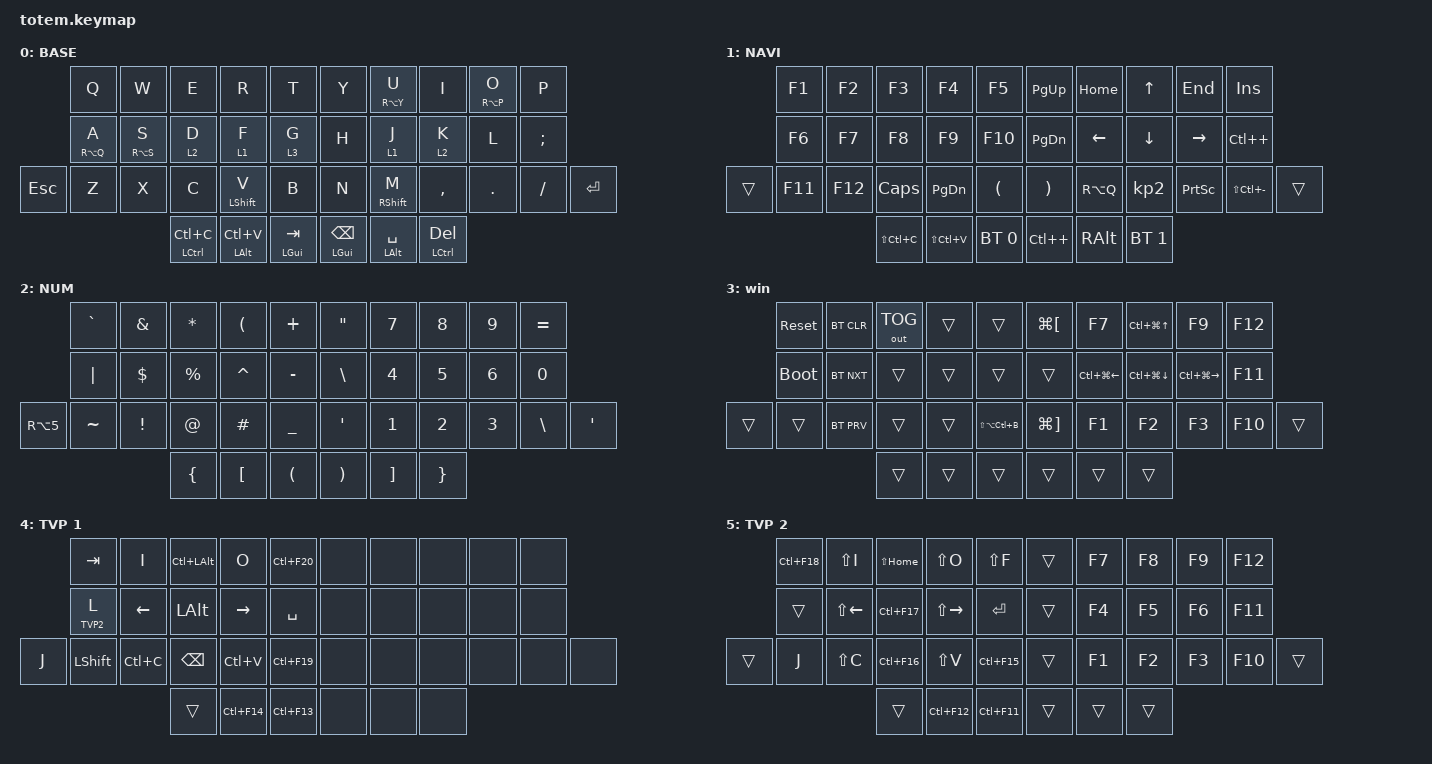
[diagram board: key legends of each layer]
//
//                                                        ▀▀▀▀▀     ▀▀▀▀▀          ▀▀█▀▀
//                                                        ▄▀▀▀▄  ▄  ▄▀▀▀▄  ▄  ▄▀▀▀▄  █  ▄▀▀▀▄
//                                                        █   █  █  █   █  █  █   █  █  █   █
//                                                         ▀▀▀   █   ▀▀▀   █   ▀▀▀   ▀   ▀▀▀
//                                                               █      ▄▄▄█▄▄▄    █   █  
//                                                               ▀      █  █  █     █▄█
//                                                             ▀▀▀▀▀    █  █  █      ▀
//                                                                      ▀  ▀  ▀
//
// ▄▄▄▄▄▄▄▄▄▄▄▄▄▄▄▄▄▄▄▄▄▄▄▄▄▄▄▄▄▄▄▄▄▄▄▄▄▄▄▄▄▄▄▄▄▄▄▄▄▄▄▄▄▄▄▄▄▄▄▄▄▄▄▄▄▄▄▄▄▄▄▄▄▄▄▄▄▄▄▄▄▄▄▄▄▄▄▄▄▄▄▄▄▄▄▄▄▄▄▄▄▄▄▄▄▄▄▄▄▄▄▄▄▄▄▄▄▄▄▄▄▄▄▄▄▄▄▄▄▄▄▄▄▄▄▄▄▄▄▄▄▄▄▄▄▄▄▄▄

#include <behaviors.dtsi>
#include <dt-bindings/zmk/bt.h>
#include <dt-bindings/zmk/keys.h>
#include <dt-bindings/zmk/outputs.h>

#define BASE 0
#define NAV  1
#define SYM  2
#define ADJ  3
#define TVP1 4
#define TVP2 5

&mt {
    quick-tap-ms = <200>;
    global-quick-tap;
    flavor = "tap-preferred";
    tapping-term-ms = <250>;
};

/ {
    combos {
        compatible = "zmk,combos";

        combo_esc {
            timeout-ms = <70>;
            key-positions = <12 13>;
            bindings = <&kp ESC>;
        };

        combo_enter {
            bindings = <&kp ENTER>;
            key-positions = <16 17>;
        };
    };

    macros {
        gif: gif {
            label = "giphy";
            compatible = "zmk,behavior-macro";
            #binding-cells = <0>;
            bindings =
                <&macro_press>,
                <&kp LSHFT>,
                <&macro_tap>,
                <&kp N2>,
                <&macro_release>,
                <&kp LSHFT>,
                <&macro_tap>,
                <&kp G &kp I &kp F>;
        };
    };

    keymap {
        compatible = "zmk,keymap";

        // ▄▄▄▄▄▄▄▄▄▄▄▄▄▄▄▄▄▄▄▄▄▄▄▄▄▄▄▄▄▄▄▄▄▄▄▄▄▄▄▄▄▄▄▄▄▄▄▄▄▄▄▄▄▄▄▄▄▄▄▄▄▄▄▄▄▄▄▄▄▄▄▄▄▄▄▄▄▄▄▄▄▄▄▄▄▄▄▄▄▄▄▄▄▄▄▄▄▄▄▄▄▄▄▄▄▄▄▄▄▄▄▄▄▄▄▄▄▄▄▄▄▄▄▄▄▄▄▄▄▄▄▄▄▄▄▄▄▄▄▄▄▄▄▄▄▄▄▄▄

        base_layer {
            // ┏━━━━━━━━━━━━━━━━━━━━━━━━━━━━━━━━━━━━━━━┓

            label = "BASE";

            // ┗━━━━━━━━━━━━━━━━━━━━━━━━━━━━━━━━━━━━━━━┛
            //             ┏━━━━━━━━━━━┳━━━━━━━━━━━┳━━━━━━━━━━━┳━━━━━━━━━━━┳━━━━━━━━━━━┓   ┏━━━━━━━━━━━┳━━━━━━━━━━━┳━━━━━━━━━━━┳━━━━━━━━━━━┳━━━━━━━━━━━┓
            //             ┃     Q     ┃     W     ┃     F     ┃     P     ┃     G     ┃   ┃     J     ┃     L     ┃     U     ┃     Y     ┃     ;     ┃
            //             ┣━━━━━━━━━━━╋━━━━━━━━━━━╋━━━━━━━━━━━╋━━━━━━━━━━━╋━━━━━━━━━━━┫   ┣━━━━━━━━━━━╋━━━━━━━━━━━╋━━━━━━━━━━━╋━━━━━━━━━━━╋━━━━━━━━━━━┫
            //             ┃     A     ┃     R     ┃     S     ┃     T     ┃     D     ┃   ┃     H     ┃     N     ┃     E     ┃     I     ┃     O     ┃
            // ┏━━━━━━━━━━━╋━━━━━━━━━━━╋━━━━━━━━━━━╋━━━━━━━━━━━╋━━━━━━━━━━━╋━━━━━━━━━━━┫   ┣━━━━━━━━━━━╋━━━━━━━━━━━╋━━━━━━━━━━━╋━━━━━━━━━━━╋━━━━━━━━━━━╋━━━━━━━━━━━┓
            // ┃     Q     ┃     Z     ┃     X     ┃     C     ┃     V     ┃     B     ┃   ┃     K     ┃     M     ┃     ,     ┃     .     ┃     /     ┃     \     ┃
            // ┗━━━━━━━━━━━┻━━━━━━━━━━━┻━━━━━━━━━━━╋━━━━━━━━━━━╋━━━━━━━━━━━╋━━━━━━━━━━━┫   ┣━━━━━━━━━━━╋━━━━━━━━━━━╋━━━━━━━━━━━╋━━━━━━━━━━━┻━━━━━━━━━━━┻━━━━━━━━━━━┛
            //                                     ┃    DEL    ┃    TAB    ┃    SPC    ┃   ┃   ENTER   ┃           ┃   BSPC    ┃
            //                                     ┗━━━━━━━━━━━┻━━━━━━━━━━━┻━━━━━━━━━━━┛   ┗━━━━━━━━━━━┻━━━━━━━━━━━┻━━━━━━━━━━━┛

            bindings = <
         &kp Q        &kp W        &kp E            &kp R               &kp T               &kp Y          &mt RA(Y) U         &kp I          &mt RA(P) O  &kp P
         &mt RA(Q) A  &mt RA(S) S  &lt 2 D          &lt 1 F             &lt 3 G             &kp H          &lt 1 J             &lt 2 K        &kp L        &kp SEMI
&kp ESC  &kp Z        &kp X        &kp C            &mt LSHFT V         &kp B               &kp N          &mt RIGHT_SHIFT M   &kp COMMA      &kp DOT      &kp FSLH  &kp ENTER
                                   &mt LCTRL LC(C)  &mt LEFT_ALT LC(V)  &mt LEFT_GUI TAB    &mt LGUI BSPC  &mt LEFT_ALT SPACE  &mt LCTRL DEL
            >;
        };

        // ▄▄▄▄▄▄▄▄▄▄▄▄▄▄▄▄▄▄▄▄▄▄▄▄▄▄▄▄▄▄▄▄▄▄▄▄▄▄▄▄▄▄▄▄▄▄▄▄▄▄▄▄▄▄▄▄▄▄▄▄▄▄▄▄▄▄▄▄▄▄▄▄▄▄▄▄▄▄▄▄▄▄▄▄▄▄▄▄▄▄▄▄▄▄▄▄▄▄▄▄▄▄▄▄▄▄▄▄▄▄▄▄▄▄▄▄▄▄▄▄▄▄▄▄▄▄▄▄▄▄▄▄▄▄▄▄▄▄▄▄▄▄▄▄▄▄▄▄▄

        nav_layer {
            // ┏━━━━━━━━━━━━━━━━━━━━━━━━━━━━━━━━━━━━━━━┓

            label = "NAVI";

            // ┗━━━━━━━━━━━━━━━━━━━━━━━━━━━━━━━━━━━━━━━┛
            //             ┏━━━━━━━━━━━┳━━━━━━━━━━━┳━━━━━━━━━━━┳━━━━━━━━━━━┳━━━━━━━━━━━┓   ┏━━━━━━━━━━━┳━━━━━━━━━━━┳━━━━━━━━━━━┳━━━━━━━━━━━┳━━━━━━━━━━━┓
            //             ┃           ┃           ┃     UP    ┃           ┃     {     ┃   ┃     }     ┃     7     ┃     8     ┃     9     ┃     +     ┃
            //             ┣━━━━━━━━━━━╋━━━━━━━━━━━╋━━━━━━━━━━━╋━━━━━━━━━━━╋━━━━━━━━━━━┫   ┣━━━━━━━━━━━╋━━━━━━━━━━━╋━━━━━━━━━━━╋━━━━━━━━━━━╋━━━━━━━━━━━┫
            //             ┃   SHIFT   ┃   LEFT    ┃    DOWN   ┃   RIGHT   ┃     [     ┃   ┃     ]     ┃     4     ┃     5     ┃     6     ┃     -     ┃
            // ┏━━━━━━━━━━━╋━━━━━━━━━━━╋━━━━━━━━━━━╋━━━━━━━━━━━╋━━━━━━━━━━━╋━━━━━━━━━━━┫   ┣━━━━━━━━━━━╋━━━━━━━━━━━╋━━━━━━━━━━━╋━━━━━━━━━━━╋━━━━━━━━━━━╋━━━━━━━━━━━┓
            // ┃           ┃           ┃   P UP    ┃  C LOCK   ┃  P DOWN   ┃     (     ┃   ┃     )     ┃     1     ┃     2     ┃     3     ┃     *     ┃           ┃
            // ┗━━━━━━━━━━━┻━━━━━━━━━━━┻━━━━━━━━━━━╋━━━━━━━━━━━╋━━━━━━━━━━━╋━━━━━━━━━━━┫   ┣━━━━━━━━━━━╋━━━━━━━━━━━╋━━━━━━━━━━━╋━━━━━━━━━━━┻━━━━━━━━━━━┻━━━━━━━━━━━┛
            //                                     ┃           ┃    TAB    ┃    SPC    ┃   ┃    DEL    ┃     0     ┃           ┃
            //                                     ┗━━━━━━━━━━━┻━━━━━━━━━━━┻━━━━━━━━━━━┛   ┗━━━━━━━━━━━┻━━━━━━━━━━━┻━━━━━━━━━━━┛

            bindings = <
        &kp F1   &kp F2   &kp F3         &kp F4         &kp F5          &kp PAGE_UP    &kp HOME        &kp UP_ARROW  &kp END          &kp INSERT
        &kp F6   &kp F7   &kp F8         &kp F9         &kp F10         &kp PAGE_DOWN  &kp LEFT_ARROW  &kp DOWN      &kp RIGHT        &kp LC(PLUS)
&trans  &kp F11  &kp F12  &kp CAPS       &kp PG_DN      &kp LPAR        &kp RPAR       &kp RA(Q)       &kp KP_N2     &kp PRINTSCREEN  &kp LS(LC(MINUS))  &trans
                          &kp LS(LC(C))  &kp LS(LC(V))  &bt BT_SEL 0    &kp LC(PLUS)   &kp RALT        &bt BT_SEL 1
            >;
        };

        // ▄▄▄▄▄▄▄▄▄▄▄▄▄▄▄▄▄▄▄▄▄▄▄▄▄▄▄▄▄▄▄▄▄▄▄▄▄▄▄▄▄▄▄▄▄▄▄▄▄▄▄▄▄▄▄▄▄▄▄▄▄▄▄▄▄▄▄▄▄▄▄▄▄▄▄▄▄▄▄▄▄▄▄▄▄▄▄▄▄▄▄▄▄▄▄▄▄▄▄▄▄▄▄▄▄▄▄▄▄▄▄▄▄▄▄▄▄▄▄▄▄▄▄▄▄▄▄▄▄▄▄▄▄▄▄▄▄▄▄▄▄▄▄▄▄▄▄▄▄

        num_layer {
            // ┏━━━━━━━━━━━━━━━━━━━━━━━━━━━━━━━━━━━━━━━┓

            label = "NUM";

            // ┗━━━━━━━━━━━━━━━━━━━━━━━━━━━━━━━━━━━━━━━┛
            //             ┏━━━━━━━━━━━┳━━━━━━━━━━━┳━━━━━━━━━━━┳━━━━━━━━━━━┳━━━━━━━━━━━┓   ┏━━━━━━━━━━━┳━━━━━━━━━━━┳━━━━━━━━━━━┳━━━━━━━━━━━┳━━━━━━━━━━━┓
            //             ┃     !     ┃     @     ┃     #     ┃     $     ┃     %     ┃   ┃     ˆ     ┃     &     ┃     Ü     ┃     '     ┃     "     ┃
            //             ┣━━━━━━━━━━━╋━━━━━━━━━━━╋━━━━━━━━━━━╋━━━━━━━━━━━╋━━━━━━━━━━━┫   ┣━━━━━━━━━━━╋━━━━━━━━━━━╋━━━━━━━━━━━╋━━━━━━━━━━━╋━━━━━━━━━━━┫
            //             ┃     Ä     ┃           ┃    SZ     ┃           ┃           ┃   ┃   MUTE    ┃   YEN     ┃   EURO    ┃  POUND    ┃     Ö     ┃
            // ┏━━━━━━━━━━━╋━━━━━━━━━━━╋━━━━━━━━━━━╋━━━━━━━━━━━╋━━━━━━━━━━━╋━━━━━━━━━━━┫   ┣━━━━━━━━━━━╋━━━━━━━━━━━╋━━━━━━━━━━━╋━━━━━━━━━━━╋━━━━━━━━━━━╋━━━━━━━━━━━┓
            // ┃           ┃  EMAIL1   ┃  EMAIL2   ┃           ┃           ┃           ┃   ┃   VOL-    ┃   VOL+    ┃   LAST    ┃   NEXT    ┃     \     ┃           ┃
            // ┗━━━━━━━━━━━┻━━━━━━━━━━━┻━━━━━━━━━━━╋━━━━━━━━━━━╋━━━━━━━━━━━╋━━━━━━━━━━━┫   ┣━━━━━━━━━━━╋━━━━━━━━━━━╋━━━━━━━━━━━╋━━━━━━━━━━━┻━━━━━━━━━━━┻━━━━━━━━━━━┛
            //                                     ┃           ┃    GIF    ┃    ADJ    ┃   ┃           ┃           ┃           ┃
            //                                     ┗━━━━━━━━━━━┻━━━━━━━━━━━┻━━━━━━━━━━━┛   ┗━━━━━━━━━━━┻━━━━━━━━━━━┻━━━━━━━━━━━┛

            bindings = <
            &kp GRAVE  &kp AMPERSAND  &kp ASTRK       &kp LEFT_PARENTHESIS  &kp PLUS                &kp DOUBLE_QUOTES      &kp N7             &kp N8           &kp N9  &kp EQUAL
            &kp PIPE   &kp DOLLAR     &kp PERCENT     &kp CARET             &kp MINUS               &kp BSLH               &kp N4             &kp N5           &kp N6  &kp N0
&kp RA(N5)  &kp TILDE  &kp EXCL       &kp AT          &kp HASH              &kp UNDER               &kp SINGLE_QUOTE       &kp N1             &kp N2           &kp N3  &kp BSLH   &kp SINGLE_QUOTE
                                      &kp LEFT_BRACE  &kp LEFT_BRACKET      &kp LEFT_PARENTHESIS    &kp RIGHT_PARENTHESIS  &kp RIGHT_BRACKET  &kp RIGHT_BRACE
            >;
        };

        // ▄▄▄▄▄▄▄▄▄▄▄▄▄▄▄▄▄▄▄▄▄▄▄▄▄▄▄▄▄▄▄▄▄▄▄▄▄▄▄▄▄▄▄▄▄▄▄▄▄▄▄▄▄▄▄▄▄▄▄▄▄▄▄▄▄▄▄▄▄▄▄▄▄▄▄▄▄▄▄▄▄▄▄▄▄▄▄▄▄▄▄▄▄▄▄▄▄▄▄▄▄▄▄▄▄▄▄▄▄▄▄▄▄▄▄▄▄▄▄▄▄▄▄▄▄▄▄▄▄▄▄▄▄▄▄▄▄▄▄▄▄▄▄▄▄▄▄▄▄

        win_layer {
            // ┏━━━━━━━━━━━━━━━━━━━━━━━━━━━━━━━━━━━━━━━┓

            label = "win";

            // ┗━━━━━━━━━━━━━━━━━━━━━━━━━━━━━━━━━━━━━━━┛
            //             ┏━━━━━━━━━━━┳━━━━━━━━━━━┳━━━━━━━━━━━┳━━━━━━━━━━━┳━━━━━━━━━━━┓   ┏━━━━━━━━━━━┳━━━━━━━━━━━┳━━━━━━━━━━━┳━━━━━━━━━━━┳━━━━━━━━━━━┓
            //             ┃   RESET   ┃ BT CLEAR  ┃  OUT TOG  ┃           ┃           ┃   ┃           ┃    F7     ┃    F8     ┃    F9     ┃    F12    ┃
            //             ┣━━━━━━━━━━━╋━━━━━━━━━━━╋━━━━━━━━━━━╋━━━━━━━━━━━╋━━━━━━━━━━━┫   ┣━━━━━━━━━━━╋━━━━━━━━━━━╋━━━━━━━━━━━╋━━━━━━━━━━━╋━━━━━━━━━━━┫
            //             ┃ BOOTLOAD  ┃ BT NEXT   ┃           ┃           ┃           ┃   ┃           ┃    F4     ┃    F5     ┃    F6     ┃    F11    ┃
            // ┏━━━━━━━━━━━╋━━━━━━━━━━━╋━━━━━━━━━━━╋━━━━━━━━━━━╋━━━━━━━━━━━╋━━━━━━━━━━━┫   ┣━━━━━━━━━━━╋━━━━━━━━━━━╋━━━━━━━━━━━╋━━━━━━━━━━━╋━━━━━━━━━━━╋━━━━━━━━━━━┓
            // ┃           ┃           ┃ BT PREV   ┃           ┃           ┃           ┃   ┃           ┃    F1     ┃    F2     ┃    F3     ┃    F10    ┃           ┃
            // ┗━━━━━━━━━━━┻━━━━━━━━━━━┻━━━━━━━━━━━╋━━━━━━━━━━━╋━━━━━━━━━━━╋━━━━━━━━━━━┫   ┣━━━━━━━━━━━╋━━━━━━━━━━━╋━━━━━━━━━━━╋━━━━━━━━━━━┻━━━━━━━━━━━┻━━━━━━━━━━━┛
            //                                     ┃           ┃           ┃           ┃   ┃           ┃           ┃           ┃
            //                                     ┗━━━━━━━━━━━┻━━━━━━━━━━━┻━━━━━━━━━━━┛   ┗━━━━━━━━━━━┻━━━━━━━━━━━┻━━━━━━━━━━━┛

            bindings = <
        &sys_reset   &bt BT_CLR  &out OUT_TOG  &trans  &trans               &kp LG(LEFT_BRACKET)   &kp F7            &kp LC(LG(UP_ARROW))  &kp F9             &kp F12
        &bootloader  &bt BT_NXT  &trans        &trans  &trans               &trans                 &kp LC(LG(LEFT))  &kp LC(LG(DOWN))      &kp LC(LG(RIGHT))  &kp F11
&trans  &trans       &bt BT_PRV  &trans        &trans  &kp LS(LA(LC(B)))    &kp LG(RIGHT_BRACKET)  &kp F1            &kp F2                &kp F3             &kp F10  &trans
                                 &trans        &trans  &trans               &trans                 &trans            &trans
            >;
        };

        // ▄▄▄▄▄▄▄▄▄▄▄▄▄▄▄▄▄▄▄▄▄▄▄▄▄▄▄▄▄▄▄▄▄▄▄▄▄▄▄▄▄▄▄▄▄▄▄▄▄▄▄▄▄▄▄▄▄▄▄▄▄▄▄▄▄▄▄▄▄▄▄▄▄▄▄▄▄▄▄▄▄▄▄▄▄▄▄▄▄▄▄▄▄▄▄▄▄▄▄▄▄▄▄▄▄▄▄▄▄▄▄▄▄▄▄▄▄▄▄▄▄▄▄▄▄▄▄▄▄▄▄▄▄▄▄▄▄▄▄▄▄▄▄▄▄▄▄▄▄

        tvp1_layer {
            // ┏━━━━━━━━━━━━━━━━━━━━━━━━━━━━━━━━━━━━━━━┓

            label = "TVP 1";

            // ┗━━━━━━━━━━━━━━━━━━━━━━━━━━━━━━━━━━━━━━━┛
            //             ┏━━━━━━━━━━━┳━━━━━━━━━━━┳━━━━━━━━━━━┳━━━━━━━━━━━┳━━━━━━━━━━━┓   ┏━━━━━━━━━━━┳━━━━━━━━━━━┳━━━━━━━━━━━┳━━━━━━━━━━━┳━━━━━━━━━━━┓
            //             ┃ NEXT FILE ┃ MARK IN   ┃ ROTATE    ┃ MARK OUT  ┃ SHOW SNAP ┃   ┃           ┃           ┃           ┃           ┃           ┃
            //             ┣━━━━━━━━━━━╋━━━━━━━━━━━╋━━━━━━━━━━━╋━━━━━━━━━━━╋━━━━━━━━━━━┫   ┣━━━━━━━━━━━╋━━━━━━━━━━━╋━━━━━━━━━━━╋━━━━━━━━━━━╋━━━━━━━━━━━┫
            //             ┃ TVP II    ┃ LEFT      ┃ PAN       ┃ RIGHT     ┃ PLAY/FLIP ┃   ┃           ┃           ┃           ┃           ┃           ┃
            // ┏━━━━━━━━━━━╋━━━━━━━━━━━╋━━━━━━━━━━━╋━━━━━━━━━━━╋━━━━━━━━━━━╋━━━━━━━━━━━┫   ┣━━━━━━━━━━━╋━━━━━━━━━━━╋━━━━━━━━━━━╋━━━━━━━━━━━╋━━━━━━━━━━━╋━━━━━━━━━━━┓
            // ┃ FULLSCR   ┃ SHIFT     ┃ COPY      ┃ DELETE    ┃ PASTE     ┃ IMG MARK  ┃   ┃           ┃           ┃           ┃           ┃           ┃           ┃
            // ┗━━━━━━━━━━━┻━━━━━━━━━━━┻━━━━━━━━━━━╋━━━━━━━━━━━╋━━━━━━━━━━━╋━━━━━━━━━━━┫   ┣━━━━━━━━━━━╋━━━━━━━━━━━╋━━━━━━━━━━━╋━━━━━━━━━━━┻━━━━━━━━━━━┻━━━━━━━━━━━┛
            //                                     ┃           ┃ UNDO/SAVE ┃  SEL/MOV  ┃   ┃           ┃           ┃           ┃
            //                                     ┗━━━━━━━━━━━┻━━━━━━━━━━━┻━━━━━━━━━━━┛   ┗━━━━━━━━━━━┻━━━━━━━━━━━┻━━━━━━━━━━━┛

            bindings = <
       &kp TAB     &kp I      &kp LC(LALT)  &kp O        &kp LC(F20)    &none  &none  &none  &none  &none
       &lt TVP2 L  &kp LEFT   &kp LALT      &kp RIGHT    &kp SPACE      &none  &none  &none  &none  &none
&kp J  &kp LSHFT   &kp LC(C)  &kp BSPC      &kp LC(V)    &kp LC(F19)    &none  &none  &none  &none  &none  &none
                              &trans        &kp LC(F14)  &kp LC(F13)    &none  &none  &none
            >;
        };

        // ▄▄▄▄▄▄▄▄▄▄▄▄▄▄▄▄▄▄▄▄▄▄▄▄▄▄▄▄▄▄▄▄▄▄▄▄▄▄▄▄▄▄▄▄▄▄▄▄▄▄▄▄▄▄▄▄▄▄▄▄▄▄▄▄▄▄▄▄▄▄▄▄▄▄▄▄▄▄▄▄▄▄▄▄▄▄▄▄▄▄▄▄▄▄▄▄▄▄▄▄▄▄▄▄▄▄▄▄▄▄▄▄▄▄▄▄▄▄▄▄▄▄▄▄▄▄▄▄▄▄▄▄▄▄▄▄▄▄▄▄▄▄▄▄▄▄▄▄▄

        tvp2_layer {
            // ┏━━━━━━━━━━━━━━━━━━━━━━━━━━━━━━━━━━━━━━━┓

            label = "TVP 2";

            // ┗━━━━━━━━━━━━━━━━━━━━━━━━━━━━━━━━━━━━━━━┛
            //             ┏━━━━━━━━━━━┳━━━━━━━━━━━┳━━━━━━━━━━━┳━━━━━━━━━━━┳━━━━━━━━━━━┓   ┏━━━━━━━━━━━┳━━━━━━━━━━━┳━━━━━━━━━━━┳━━━━━━━━━━━┳━━━━━━━━━━━┓
            //             ┃ SOLO      ┃ TOGGLE IN ┃ RESET ROT ┃ TOGGLE OUT┃ TAKE SNAP ┃   ┃           ┃           ┃           ┃           ┃           ┃
            //             ┣━━━━━━━━━━━╋━━━━━━━━━━━╋━━━━━━━━━━━╋━━━━━━━━━━━╋━━━━━━━━━━━┫   ┣━━━━━━━━━━━╋━━━━━━━━━━━╋━━━━━━━━━━━╋━━━━━━━━━━━╋━━━━━━━━━━━┫
            //             ┃ ---       ┃ LAST KEY  ┃ NEW KEY   ┃ NEXT KEY  ┃ ENTER     ┃   ┃           ┃           ┃           ┃           ┃           ┃
            // ┏━━━━━━━━━━━╋━━━━━━━━━━━╋━━━━━━━━━━━╋━━━━━━━━━━━╋━━━━━━━━━━━╋━━━━━━━━━━━┫   ┣━━━━━━━━━━━╋━━━━━━━━━━━╋━━━━━━━━━━━╋━━━━━━━━━━━╋━━━━━━━━━━━╋━━━━━━━━━━━┓
            // ┃           ┃ FULLSCR   ┃ CPY2BRUSH ┃ DEL HEAD  ┃ PSTinPLACE┃ BOOK MARK ┃   ┃           ┃           ┃           ┃           ┃           ┃           ┃
            // ┗━━━━━━━━━━━┻━━━━━━━━━━━┻━━━━━━━━━━━╋━━━━━━━━━━━╋━━━━━━━━━━━╋━━━━━━━━━━━┫   ┣━━━━━━━━━━━╋━━━━━━━━━━━╋━━━━━━━━━━━╋━━━━━━━━━━━┻━━━━━━━━━━━┻━━━━━━━━━━━┛
            //                                     ┃           ┃ REDO/SAV1 ┃TRANS/WARP ┃   ┃           ┃           ┃           ┃
            //                                     ┗━━━━━━━━━━━┻━━━━━━━━━━━┻━━━━━━━━━━━┛   ┗━━━━━━━━━━━┻━━━━━━━━━━━┻━━━━━━━━━━━┛

            bindings = <
        &kp LC(F18)  &kp LS(I)     &kp LS(HOME)  &kp LS(O)      &kp LS(F)      &trans  &kp F7  &kp F8  &kp F9  &kp F12
        &trans       &kp LS(LEFT)  &kp LC(F17)   &kp LS(RIGHT)  &kp RET        &trans  &kp F4  &kp F5  &kp F6  &kp F11
&trans  &kp J        &kp LS(C)     &kp LC(F16)   &kp LS(V)      &kp LC(F15)    &trans  &kp F1  &kp F2  &kp F3  &kp F10  &trans
                                   &trans        &kp LC(F12)    &kp LC(F11)    &trans  &trans  &trans
            >;
        };
    };
};
